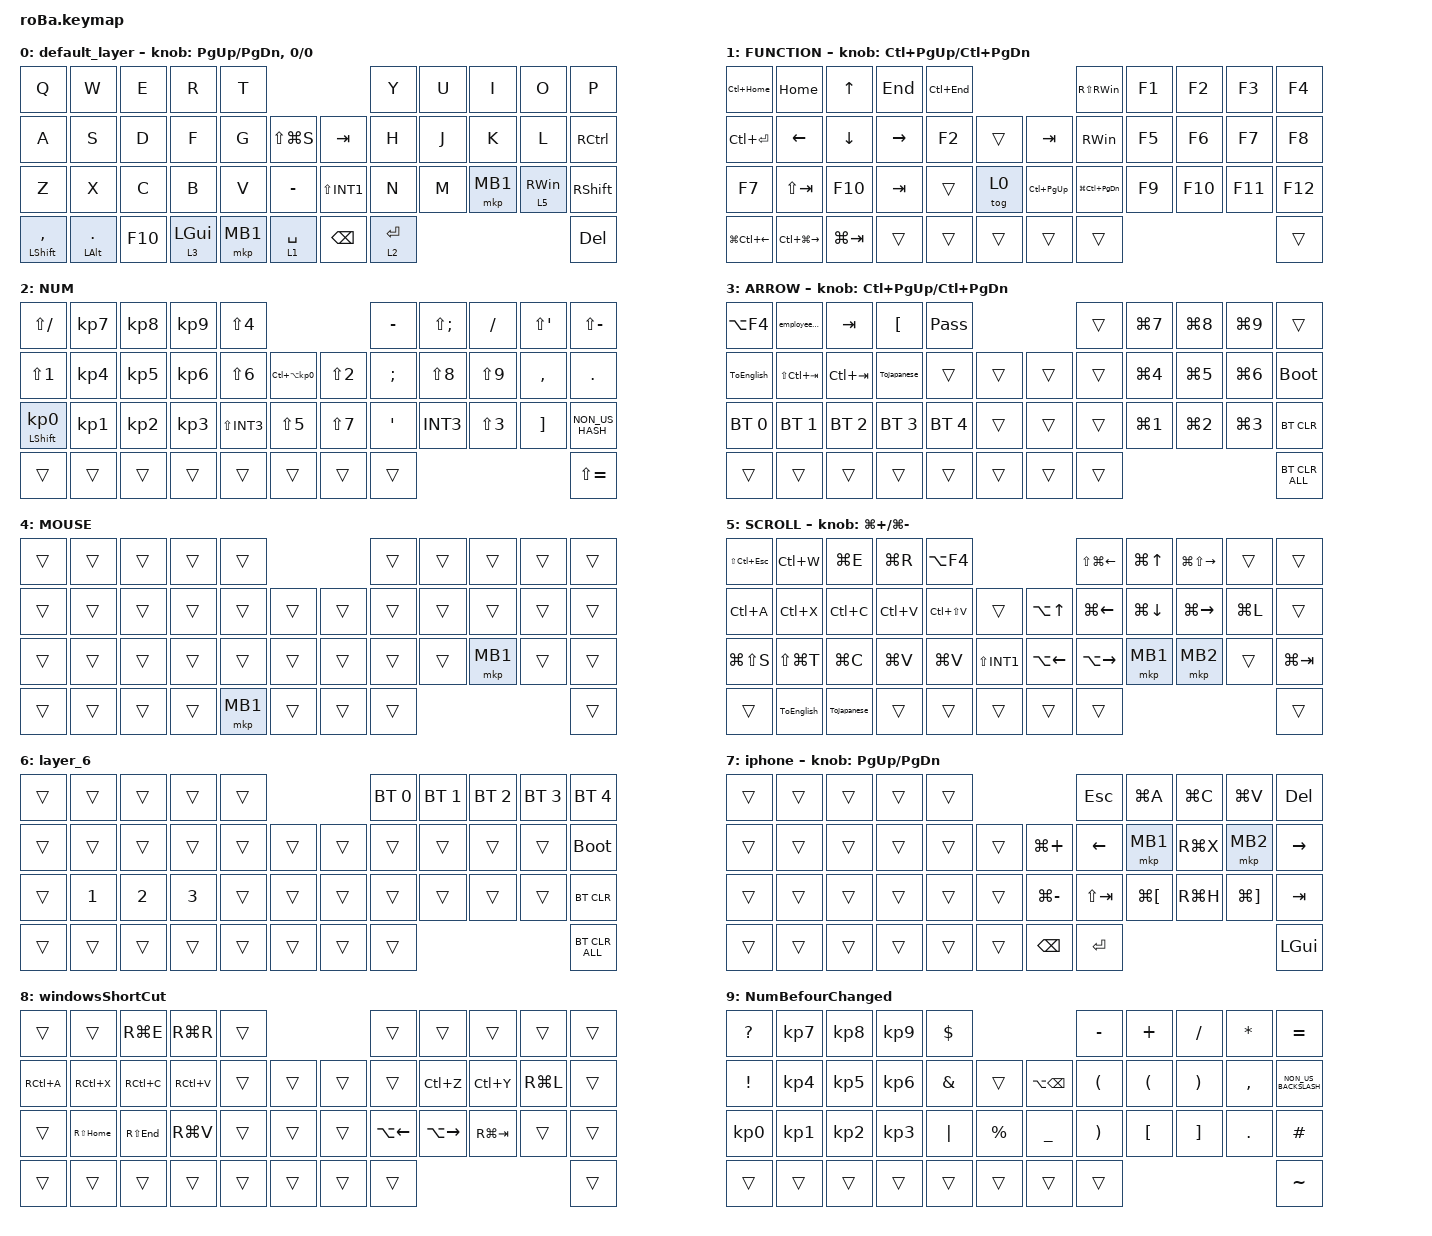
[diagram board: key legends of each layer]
#include <behaviors.dtsi>
#include <dt-bindings/zmk/bt.h>
#include <dt-bindings/zmk/keys.h>
#include <dt-bindings/zmk/pointing.h>

&mt {
    flavor = "balanced";
    quick-tap-ms = <0>;
};

&trackball {
    automouse-layer = <4>;
    scroll-layers = <5>;

    // arrows {
    //     layers = <3>;
    //     bindings =
    //         <&kp RIGHT_ARROW>,
    //         <&kp LEFT_ARROW>,
    //         <&kp UP_ARROW>,
    //         <&kp DOWN_ARROW>;
    //     tick = <10>;
    //     wait-ms = <5>;
    //     tap-ms = <5>;
    // };
};

/ {
    combos {
        compatible = "zmk,combos";

        escape {
            bindings = <&kp ESCAPE>;
            key-positions = <0 1>;
        };

        combp_MB2 {
            bindings = <&mkp MB2>;
            key-positions = <21 20>;
            timeout-ms = <0>;
            layers = <4>;
        };
    };

    macros {
        to_layer_0: to_layer_0 {
            compatible = "zmk,behavior-macro-one-param";
            #binding-cells = <1>;
            bindings = <&to 0 &macro_param_1to1 &kp MACRO_PLACEHOLDER>;
            label = "TO_LAYER_0";
        };

        employeeCode: employeeCode {
            compatible = "zmk,behavior-macro";
            #binding-cells = <0>;
            bindings = <&kp N6 &kp N4 &kp N8 &kp NUMBER_2 &kp N8 &kp NUMBER_5>;
            label = "EMPLOYEECODE";
        };

        Pass: Pass {
            compatible = "zmk,behavior-macro";
            #binding-cells = <0>;
            bindings = <&kp LS(X) &kp K &kp Y &kp S &kp T &kp M &kp N0 &kp N2 &kp N0 &kp N9 &kp N0 &kp N1>;
            label = "PASS";
        };

        ToJapanese: japanese {
            compatible = "zmk,behavior-macro";
            #binding-cells = <0>;
            bindings = <&kp CAPSLOCK>;
            label = "JAPANESE";
        };

        ToEnglish: ToEndlilsh {
            compatible = "zmk,behavior-macro";
            #binding-cells = <0>;
            bindings = <&kp LA(CAPSLOCK)>;
            label = "TOENDLILSH";
        };
    };

    behaviors {
        lt_to_layer_0: lt_to_layer_0 {
            compatible = "zmk,behavior-hold-tap";
            label = "LAYER_TAP_TO_0";
            bindings = <&mo>, <&to_layer_0>;

            #binding-cells = <2>;
            tapping-term-ms = <160>;
        };
    };

    keymap {
        compatible = "zmk,keymap";

        default_layer {
            bindings = <
&kp Q                 &kp W                &kp E    &kp R                      &kp T                                                &kp Y        &kp U  &kp I     &kp O            &kp P
&kp A                 &kp S                &kp D    &kp F                      &kp G     &kp LS(LG(S))               &kp TAB        &kp H        &kp J  &kp K     &kp L            &kp RCTRL
&kp Z                 &kp X                &kp C    &kp B                      &kp V     &kp MINUS                   &kp LS(INT1)   &kp N        &kp M  &mkp MB1  &lt 5 RIGHT_WIN  &kp RIGHT_SHIFT
&mt LEFT_SHIFT COMMA  &mt LEFT_ALT PERIOD  &kp F10  &lt_to_layer_0 3 LEFT_GUI  &mkp MB1  &lt_to_layer_0 1 SPACE      &kp BACKSPACE  &lt 2 ENTER                                    &kp DEL
            >;

            sensor-bindings = <&inc_dec_kp PG_UP PAGE_DOWN>, <&inc_dec_kp 0 0>;
        };

        FUNCTION {
            bindings = <
&kp LC(HOME)            &kp HOME                 &kp UP_ARROW    &kp END          &kp LC(END)                             &kp RS(RIGHT_WIN)  &kp F1  &kp F2   &kp F3   &kp F4
&kp LC(ENTER)           &kp LEFT_ARROW           &kp DOWN_ARROW  &kp RIGHT_ARROW  &kp F2       &trans      &kp TAB        &kp RIGHT_WIN      &kp F5  &kp F6   &kp F7   &kp F8
&kp F7                  &kp LS(TAB)              &kp F10         &kp TAB          &trans       &tog 0      &kp LC(PG_UP)  &kp LG(LC(PG_DN))  &kp F9  &kp F10  &kp F11  &kp F12
&kp LG(LC(LEFT_ARROW))  &kp LC(LG(RIGHT_ARROW))  &kp LG(TAB)     &trans           &trans       &trans      &trans         &trans                                       &trans
            >;

            sensor-bindings = <&inc_dec_kp LC(PG_UP) LC(PG_DN)>;
        };

        NUM {
            bindings = <
&kp LS(SLASH)               &kp KP_NUMBER_7  &kp KP_NUMBER_8  &kp KP_NUMBER_9  &kp LS(NUMBER_4)                                                 &kp MINUS         &kp LS(SEMICOLON)  &kp SLASH         &kp LS(SINGLE_QUOTE)  &kp LS(MINUS)
&kp LS(NUMBER_1)            &kp KP_NUMBER_4  &kp KP_NUMBER_5  &kp KP_NUMBER_6  &kp LS(NUMBER_6)  &kp LC(LA(KP_NUMBER_0))      &kp LS(NUMBER_2)  &kp SEMICOLON     &kp LS(NUMBER_8)   &kp LS(NUMBER_9)  &kp COMMA             &kp PERIOD
&mt LEFT_SHIFT KP_NUMBER_0  &kp KP_NUMBER_1  &kp KP_NUMBER_2  &kp KP_NUMBER_3  &kp LS(INT3)      &kp LS(NUMBER_5)             &kp LS(NUMBER_7)  &kp SINGLE_QUOTE  &kp INT3           &kp LS(NUMBER_3)  &kp RIGHT_BRACKET     &kp NON_US_HASH
&trans                      &trans           &trans           &trans           &trans            &trans                       &trans            &trans                                                                       &kp LS(EQUAL)
            >;
        };

        ARROW {
            bindings = <
&kp LA(F4)    &employeeCode    &kp TAB       &kp LEFT_BRACKET  &Pass                             &trans  &kp LG(NUMBER_7)  &kp LG(NUMBER_8)  &kp LG(NUMBER_9)  &trans
&ToEnglish    &kp LS(LC(TAB))  &kp LC(TAB)   &ToJapanese       &trans        &trans      &trans  &trans  &kp LG(NUMBER_4)  &kp LG(NUMBER_5)  &kp LG(NUMBER_6)  &bootloader
&bt BT_SEL 0  &bt BT_SEL 1     &bt BT_SEL 2  &bt BT_SEL 3      &bt BT_SEL 4  &trans      &trans  &trans  &kp LG(NUMBER_1)  &kp LG(NUMBER_2)  &kp LG(NUMBER_3)  &bt BT_CLR
&trans        &trans           &trans        &trans            &trans        &trans      &trans  &trans                                                        &bt BT_CLR_ALL
            >;

            sensor-bindings = <&inc_dec_kp LC(PAGE_UP) LC(PAGE_DOWN)>;
        };

        MOUSE {
            bindings = <
&trans  &trans  &trans  &trans  &trans                        &trans  &trans  &trans    &trans  &trans
&trans  &trans  &trans  &trans  &trans    &trans      &trans  &trans  &trans  &trans    &trans  &trans
&trans  &trans  &trans  &trans  &trans    &trans      &trans  &trans  &trans  &mkp MB1  &trans  &trans
&trans  &trans  &trans  &trans  &mkp MB1  &trans      &trans  &trans                            &trans
            >;
        };

        SCROLL {
            bindings = <
&kp LS(LC(ESCAPE))  &kp LC(W)      &kp LG(E)    &kp LG(R)  &kp LA(F4)                                           &kp LS(LG(LEFT_ARROW))  &kp LG(UP_ARROW)    &kp LG(LS(RIGHT_ARROW))  &trans     &trans
&kp LC(A)           &kp LC(X)      &kp LC(C)    &kp LC(V)  &kp LC(LS(V))  &trans            &kp LA(UP_ARROW)    &kp LG(LEFT_ARROW)      &kp LG(DOWN_ARROW)  &kp LG(RIGHT_ARROW)      &kp LG(L)  &trans
&kp LG(LS(S))       &kp LS(LG(T))  &kp LG(C)    &kp LG(V)  &kp LG(V)      &kp LS(INT1)      &kp LA(LEFT_ARROW)  &kp LA(RIGHT_ARROW)     &mkp MB1            &mkp MB2                 &trans     &kp LG(TAB)
&trans              &ToEnglish     &ToJapanese  &trans     &trans         &trans            &trans              &trans                                                                          &trans
            >;

            sensor-bindings = <&inc_dec_kp LG(PLUS) LG(MINUS)>;
        };

        layer_6 {
            bindings = <
&trans  &trans        &trans        &trans        &trans                      &bt BT_SEL 0  &bt BT_SEL 1  &bt BT_SEL 2  &bt BT_SEL 3  &bt BT_SEL 4
&trans  &trans        &trans        &trans        &trans  &trans      &trans  &trans        &trans        &trans        &trans        &bootloader
&trans  &kp NUMBER_1  &kp NUMBER_2  &kp NUMBER_3  &trans  &trans      &trans  &trans        &trans        &trans        &trans        &bt BT_CLR
&trans  &trans        &trans        &trans        &trans  &trans      &trans  &trans                                                  &bt BT_CLR_ALL
            >;
        };

        iphone {
            bindings = <
&trans  &trans  &trans  &trans  &trans                             &kp ESCAPE      &kp LG(A)             &kp LG(C)  &kp LG(V)              &kp DELETE
&trans  &trans  &trans  &trans  &trans  &trans      &kp LG(PLUS)   &kp LEFT_ARROW  &mkp MB1              &kp RG(X)  &mkp MB2               &kp RIGHT_ARROW
&trans  &trans  &trans  &trans  &trans  &trans      &kp LG(MINUS)  &kp LS(TAB)     &kp LG(LEFT_BRACKET)  &kp RG(H)  &kp LG(RIGHT_BRACKET)  &kp TAB
&trans  &trans  &trans  &trans  &trans  &trans      &kp BACKSPACE  &kp ENTER                                                               &kp LEFT_GUI
            >;

            sensor-bindings = <&inc_dec_kp PG_UP PAGE_DOWN>;
        };

        windowsShortCut {
            bindings = <
&trans     &trans        &kp RG(E)    &kp RG(R)  &trans                      &trans              &trans               &trans       &trans     &trans
&kp RC(A)  &kp RC(X)     &kp RC(C)    &kp RC(V)  &trans  &trans      &trans  &trans              &kp LC(Z)            &kp LC(Y)    &kp RG(L)  &trans
&trans     &kp RS(HOME)  &kp RS(END)  &kp RG(V)  &trans  &trans      &trans  &kp LA(LEFT_ARROW)  &kp LA(RIGHT_ARROW)  &kp RG(TAB)  &trans     &trans
&trans     &trans        &trans       &trans     &trans  &trans      &trans  &trans                                                           &trans
            >;
        };

        NumBefourChanged {
            bindings = <
&kp QUESTION     &kp KP_NUMBER_7  &kp KP_NUMBER_8  &kp KP_NUMBER_9  &kp DOLLAR                                         &kp MINUS              &kp PLUS              &kp SLASH              &kp ASTERISK  &kp EQUAL
&kp EXCLAMATION  &kp KP_NUMBER_4  &kp KP_NUMBER_5  &kp KP_NUMBER_6  &kp AMPERSAND  &trans           &kp LA(BACKSPACE)  &kp LEFT_PARENTHESIS   &kp LEFT_PARENTHESIS  &kp RIGHT_PARENTHESIS  &kp COMMA     &kp NON_US_BACKSLASH
&kp KP_NUMBER_0  &kp KP_NUMBER_1  &kp KP_N2        &kp KP_NUMBER_3  &kp PIPE       &kp PERCENT      &kp UNDER          &kp RIGHT_PARENTHESIS  &kp LEFT_BRACKET      &kp RIGHT_BRACKET      &kp PERIOD    &kp HASH
&trans           &trans           &trans           &trans           &trans         &trans           &trans             &trans                                                                            &kp TILDE
            >;
        };
    };
};
